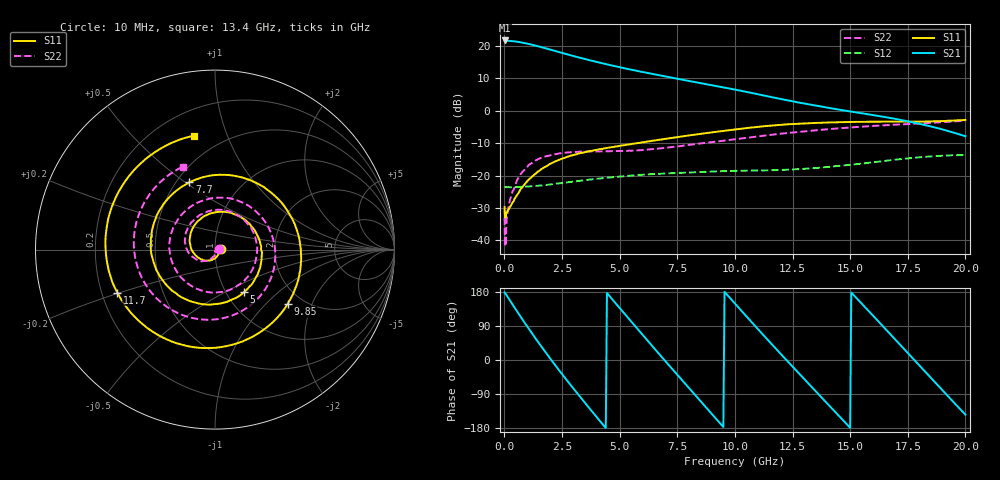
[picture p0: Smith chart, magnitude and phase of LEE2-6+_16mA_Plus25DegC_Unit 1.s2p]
!Mini-Circuits Laboratory
!S-Parameters
!Model: LEE2-6+
!Run / Lot / Date Code: N/A / N/A / N/A
!Fixture: TB-621+ DC 1602
!Network Analyzer: PNA-X N5242A - 423 4 ports;  Serial number: 71404
!Date: 4/12/2016 at 7:56:13 AM
!S/N: Unit# 1
!Tested with:
# Hz  S  dB  R  50
!Frequency  S11 dB  S11 Deg  S21 dB  S21 Deg  S12 dB  S12 Deg  S22 dB  S22 Deg
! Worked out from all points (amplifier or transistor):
!   408 points, 10 MHz to 20 GHz, reference 50 ohm
!   highest |S21| = 21.7 dB at 20 MHz (marker M1)
!   |S21| within 3 dB of that: start of sweep to 2.082 GHz
!   unconditionally stable (mu >= 1): start of sweep to end of sweep
!   at 3.05 GHz: K = 1.04, MAG = 18.1 dB, |S12| = -21.8 dB
!   at 9.85 GHz: K = 1.30, MAG = 9.4 dB, |S12| = -18.6 dB
!   at 20 GHz: K = 1.34, MAG = -0.6 dB, |S12| = -13.7 dB
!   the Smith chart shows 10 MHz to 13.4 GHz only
!   S11 on the Smith chart (normalised r, x): 10 MHz: 1.07, +0.01; 5 GHz: 1.21, -0.62; 7.7 GHz: 0.58, +0.52; 9.85 GHz: 1.67, -1.36; 11.7 GHz: 0.26, -0.20; 13.4 GHz: 0.35, +0.77
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1e7  -29.72 6.1  21.65 178.1  -23.58 0.3  -32.97 9.8
2e7  -32.69 -3.7  21.66 177.9  -23.58 -0.4  -39.97 -0.4
5e8  -26.57 -87.4  21.32 133.0  -23.54 -24.4  -22.35 -124.5
8.5e8  -22.95 -121.4  20.89 101.0  -23.44 -41.3  -18.41 -154.4
1.25e9  -20.07 -150.5  20.25 65.7  -23.22 -61.0  -15.81 176.0
1.75e9  -17.37 175.1  19.31 23.4  -22.91 -85.8  -14.16 138.6
2.15e9  -15.84 147.8  18.51 -9.3  -22.59 -106.0  -13.51 110.1
2.6e9  -14.59 117.3  17.63 -44.9  -22.18 -129.7  -12.96 79.8
3.35e9  -13.02 64.9  16.20 -102.2  -21.54 -170.0  -12.62 27.0
4.15e9  -11.87 7.3  14.80 -161.5  -20.89 145.7  -12.52 -29.2
5e9  -10.85 -55.6  13.43 137.1  -20.31 97.8  -12.42 -89.6
5.75e9  -10.04 -110.3  12.27 83.6  -19.86 54.8  -12.21 -141.2
6.7e9  -8.95 -178.7  10.92 16.9  -19.44 -0.0  -11.66 155.7
7.7e9  -7.93 110.9  9.57 -52.9  -19.13 -57.5  -10.82 92.1
8.9e9  -6.78 27.7  8.00 -135.6  -18.78 -126.0  -9.77 18.1
9.85e9  -5.93 -36.8  6.72 159.4  -18.59 179.5  -8.94 -39.4
1.005e10  -5.75 -50.1  6.45 145.7  -18.54 168.1  -8.78 -51.5
1.17e10  -4.51 -156.3  4.03 35.1  -18.33 75.1  -7.33 -149.9
1.335e10  -3.81 103.5  1.74 -72.5  -17.75 -16.5  -6.13 114.1
1.34e10  -3.80 100.4  1.69 -75.8  -17.72 -19.3  -6.11 111.1
1.67e10  -3.37 -102.5  -2.21 70.9  -15.32 151.8  -4.40 -89.2
2e10  -2.84 39.7  -7.86 -144.2  -13.66 -52.0  -3.09 52.7
